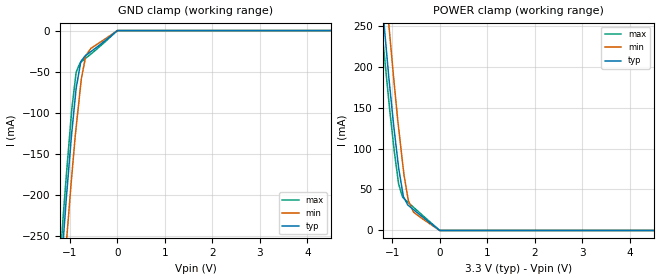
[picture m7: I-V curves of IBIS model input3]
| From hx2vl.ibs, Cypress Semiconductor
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[Model]   input3
Model_type   Input
Vinl = 0.8
Vinh = 2.0
|   typ   min   max
C_comp   1.2pF   1.1pF   1.3pF
[Voltage Range]   3.3   3.6   3
[Temperature Range]   25   100   -20
[Power Clamp Reference]   3.3   3.6   3
[GND Clamp Reference]   0   0   0
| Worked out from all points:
|   GND clamp passes 1 mA (typ) near -0.02 V on its own axis
|   POWER clamp passes 1 mA (typ) near -0.02 V on its own axis
[GND Clamp]
|   Voltage   I(typ)   I(min)   I(max)
-3.303V   -2.164A    -2.043A    -2.255A
-1.257V   -355mA     -400.8mA   -327.2mA
-1.131V   -252.3mA   -304.4mA   -222.5mA
-1.073V   -205.8mA   -260.9mA   -178.4mA
-957mV    -125.2mA   -177.8mA   -96.83mA
-864mV    -70.36mA   -118mA     -50.8mA
-765.6mV  -37.76mA   -64.69mA   -38.62mA
-751.2mV  -36.53mA   -57.63mA   -37.92mA
-661.2mV  -30.31mA   -30.7mA    -33.63mA
-549.6mV  -25.49mA   -21.52mA   -28.37mA
0V        -121.3uA   -67.49uA   -27.31uA
6.607V    0A         0A         0A
[POWER Clamp]
|   Voltage   I(typ)   I(min)   I(max)
-3.303V   1.766A     1.819A     1.735A
-1.233V   291.8mA    360mA      254.5mA
-1.068V   185.3mA    250mA      156.7mA
-1.041V   169.9mA    232.3mA    141.5mA
-957mV    122.5mA    179.1mA    97.09mA
-864mV    76.37mA    124.9mA    56.59mA
-783mV    47.84mA    83.6mA     41.14mA
-765.6mV  41.71mA    74.73mA    39.81mA
-661.2mV  30.7mA     36.7mA     33.92mA
-549.6mV  25.3mA     22.42mA    28.18mA
1.2mV     64.24uA    3.272uA    29.59uA
6.607V    0A         0A         0A
